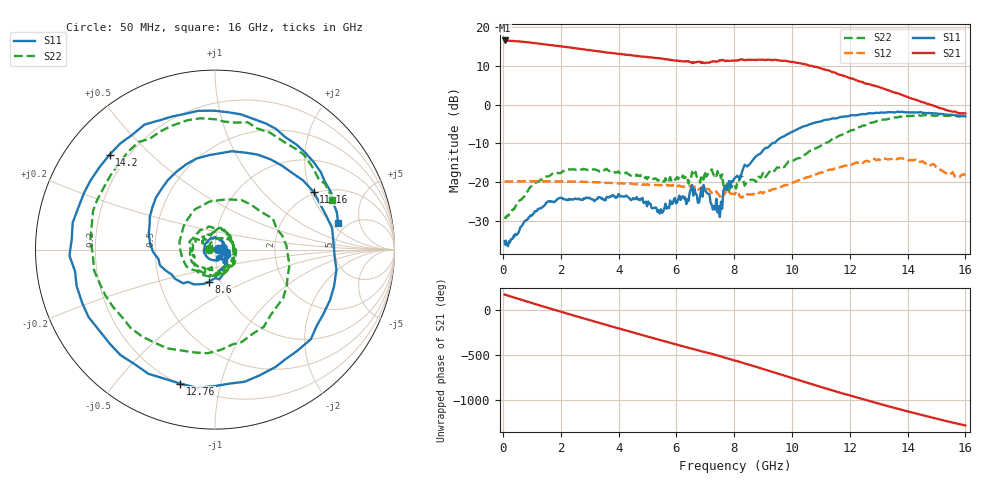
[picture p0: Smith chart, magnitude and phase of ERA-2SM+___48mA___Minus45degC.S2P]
! Mini-Circuits
! S2P DATA File Format
! Type: MMIC Amplifier
! Model: ERA-2SM  Reference Data:RDF-874AA
! Note: All S Parameters are in dB deg format
! TEST CONDITIONS: INPUT POWER = -20dBm, Icc = 48mA, Vd = 3.63V @Temperature = -45degC
! 401 Frequency points
# MHz S DB R 50
!  FREQ  dB(S11)  PHS(S11)  dB(S21)  PHS(S21)  dB(S12)  PHS(S12)  dB(S22)  PHS(S22)
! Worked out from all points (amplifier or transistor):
!   401 points, 50 MHz to 16 GHz, reference 50 ohm
!   highest |S21| = 16.5 dB at 70 MHz (marker M1)
!   |S21| within 3 dB of that: start of sweep to 3.497 GHz
!   unconditionally stable (mu >= 1): start of sweep to 10.46 GHz
!   at 1.37 GHz: K = 1.10, MAG = 15.8 dB, |S12| = -19.8 dB
!   at 4.1 GHz: K = 1.34, MAG = 13.2 dB, |S12| = -20.3 dB
!   at 16 GHz: K = 0.91, MSG = 8.0 dB, |S12| = -18.3 dB
!   S11 on the Smith chart (normalised r, x): 50 MHz: 1.03, +0.00; 8.6 GHz: 0.88, -0.33; 11.16 GHz: 1.94, +2.10; 12.76 GHz: 0.20, -0.75; 14.2 GHz: 0.13, +0.38; 16 GHz: 4.25, +2.44
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50  -35.32 2.3  16.53 174.5  -19.85 -4.2  -29.48 174.3
70  -36.14 0.2  16.53 172.6  -19.87 -5.4  -29.25 168.6
830  -29.74 8.6  16.08 96.2  -19.80 -59.2  -22.48 59.6
1610  -24.91 -44.6  15.40 20.5  -19.79 -115.3  -18.36 -18.8
2090  -24.39 -84.9  14.94 -25.2  -19.82 -150.2  -17.15 -64.2
2710  -24.53 -149.8  14.32 -83.2  -19.91 164.7  -16.72 -121.2
3310  -23.92 152.2  13.72 -138.5  -20.06 121.0  -17.13 -173.4
3830  -23.49 102.5  13.23 174.2  -20.26 83.2  -17.42 140.0
4620  -23.84 51.5  12.50 102.8  -20.58 25.1  -18.03 76.1
5380  -27.23 18.8  11.96 34.9  -20.82 -29.5  -19.47 16.1
5980  -25.47 10.3  11.37 -18.0  -21.07 -74.9  -19.16 -29.6
6740  -25.30 -27.7  11.05 -82.7  -21.91 -131.8  -18.77 -101.3
8060  -18.68 -66.4  11.29 159.5  -22.78 137.5  -21.69 107.9
8600  -14.74 -101.0  11.55 108.2  -23.19 104.8  -19.36 19.1
9640  -8.41 166.6  11.30 5.4  -21.16 39.5  -15.84 -120.9
10760  -4.73 66.0  9.79 -106.7  -18.24 -47.0  -11.40 96.6
11160  -3.92 30.3  9.00 -145.7  -17.26 -80.0  -9.88 51.9
12040  -2.72 -43.1  6.77 131.7  -15.52 -157.4  -6.63 -35.4
12760  -2.26 -104.6  5.02 66.9  -14.39 140.7  -4.67 -100.8
13400  -1.97 -158.0  3.50 10.1  -14.02 80.2  -3.59 -157.2
14200  -2.04 138.0  1.41 -57.2  -14.35 7.6  -2.88 138.3
16000  -3.07 12.0  -2.33 162.6  -18.26 -116.1  -2.98 23.0
